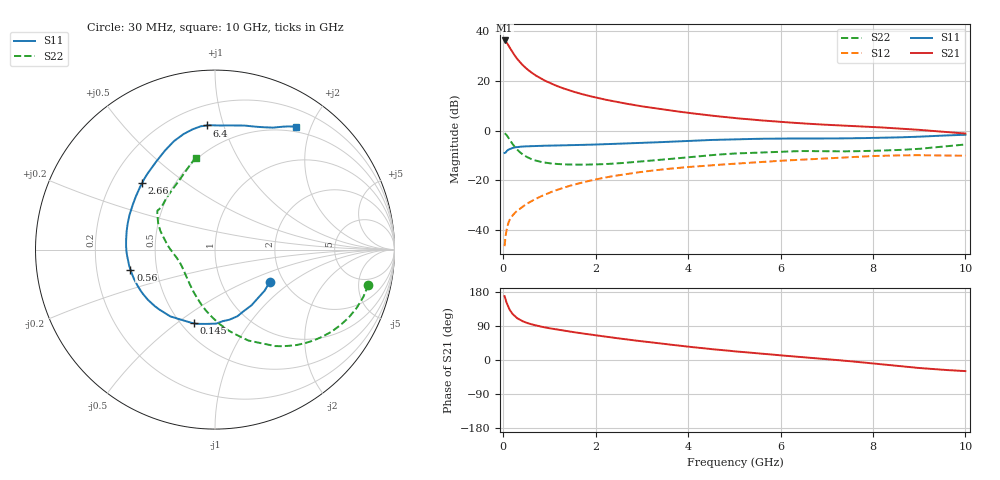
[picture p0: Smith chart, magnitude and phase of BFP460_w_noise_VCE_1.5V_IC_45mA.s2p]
! (c) 2016  Infineon Technologies AG, Munich
! Infineon Technologies  Discrete & RF Semiconductors
! BFP460
! VCE =  1.5 V,  IC =  45 mA
! Common Emitter S-Parameters:  Jan 2016
# GHz  S  MA  R  50
!  f  S11  S21  S12  S22
! GHz  MAG  ANG  MAG  ANG  MAG  ANG  MAG  ANG
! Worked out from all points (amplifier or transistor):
!   229 points, 30 MHz to 10 GHz, reference 50 ohm
!   highest |S21| = 36.1 dB at 30 MHz (marker M1)
!   |S21| within 3 dB of that: start of sweep to 145.7 MHz
!   unconditionally stable (mu >= 1): 1.095 GHz to 7.898 GHz
!   at 280 MHz: K = 0.64, MSG = 30.9 dB, |S12| = -32.5 dB
!   at 1.78 GHz: K = 1.03, MAG = 16.2 dB, |S12| = -20.5 dB
!   at 10 GHz: K = 0.98, MSG = 4.5 dB, |S12| = -10.1 dB
!   lowest NFmin = 1.72 dB at 3.5 GHz
!   S11 on the Smith chart (normalised r, x): 30 MHz: 1.70, -0.70; 145 MHz: 0.58, -0.58; 560 MHz: 0.35, -0.10; 2.66 GHz: 0.33, +0.35; 6.4 GHz: 0.33, +0.88; 10 GHz: 0.42, +1.78
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0.03  0.3547 -30.6  63.89 168.4  0.0048 83.7  0.877 -12.9
0.05  0.3602 -48.1  61.42 159.6  0.0075 77.6  0.8535 -22.4
0.07  0.3784 -65.0  58.69 152.2  0.0098 72.3  0.8155 -31.1
0.08  0.3917 -71.4  57.01 149.1  0.0109 70.6  0.7938 -35.2
0.11  0.4125 -89.1  51.51 140.1  0.0139 65.8  0.7233 -46.1
0.145  0.427 -105.9  45.35 131.6  0.0165 62.0  0.6437 -56.7
0.2  0.4477 -123.7  37.35 121.8  0.0197 59.1  0.5401 -69.8
0.26  0.4601 -136.7  30.91 114.5  0.0227 58.1  0.4578 -80.4
0.3  0.467 -143.2  27.5 110.5  0.0245 58.3  0.4154 -86.5
0.4  0.476 -154.9  21.46 103.4  0.0288 59.3  0.3431 -98.5
0.56  0.4839 -166.7  15.85 96.3  0.036 61.4  0.2807 -112.0
0.7  0.4895 -174.1  12.74 91.3  0.0424 62.6  0.2504 -121.5
1  0.4976 174.8  9.041 83.8  0.0566 63.5  0.2206 -135.4
1.3  0.5045 166.4  6.998 77.6  0.0711 62.9  0.2101 -144.8
1.7  0.515 156.7  5.385 70.4  0.0903 60.8  0.2068 -154.0
2.66  0.5508 137.4  3.457 54.5  0.1341 52.9  0.2263 -172.1
3.4  0.5842 125.2  2.691 43.7  0.1639 46.0  0.2587 176.6
5.1  0.6697 104.3  1.746 22.0  0.2189 32.1  0.3485 155.3
6.4  0.6932 93.7  1.405 8.3  0.2579 22.0  0.3855 146.5
6.8  0.6922 90.1  1.334 4.3  0.2697 19.2  0.3852 144.7
8.4  0.7219 71.5  1.121 -14.0  0.3156 4.4  0.4019 129.2
10  0.8221 56.5  0.87 -29.3  0.3117 -8.3  0.5243 101.9
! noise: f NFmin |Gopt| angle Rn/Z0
0.45  1.77  0.29  -170  0.13
0.9  1.79  0.27  -162  0.14
1.9  1.89  0.36  -141  0.15
3.5  1.72  0.59  -117  0.24
